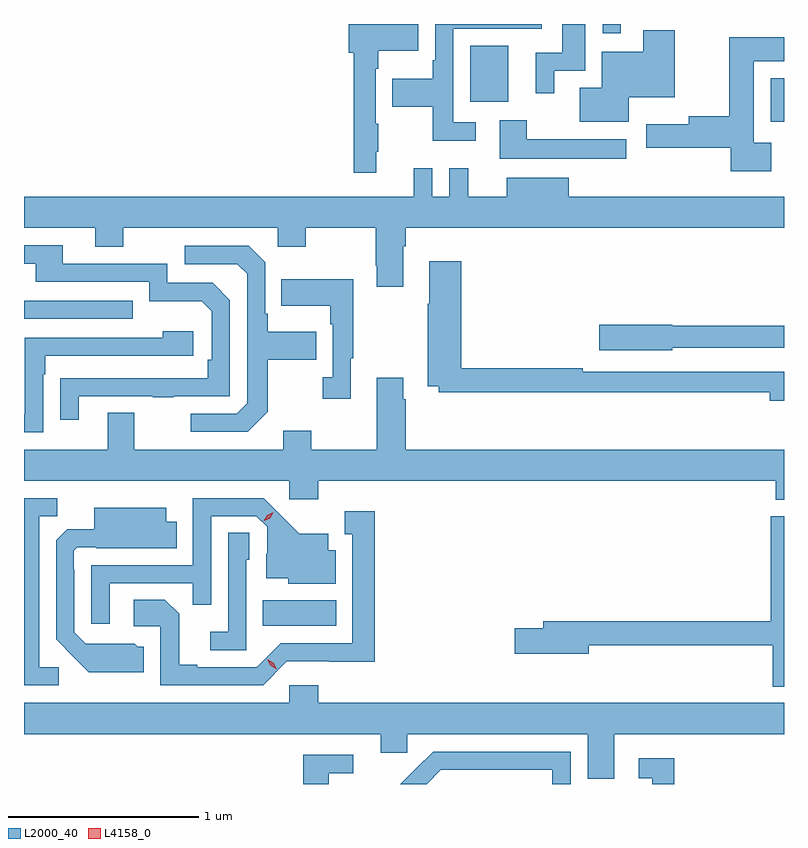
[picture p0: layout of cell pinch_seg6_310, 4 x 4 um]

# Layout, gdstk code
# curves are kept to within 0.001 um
import gdstk
lib = gdstk.Library(unit=1e-6, precision=1e-09)
def R(c, l, rs):  # rectangles x0, y0, x1, y1
    for r in rs: c.add(gdstk.rectangle(r[:2], r[2:], *l))
def P(c, l, *ps):  # polygons
    for p in ps: c.add(gdstk.Polygon(p, *l))
L2000_40 = (2000, 40)
L4158_0 = (4158, 0)

pinch_seg6_310 = lib.new_cell('pinch_seg6_310')
R(pinch_seg6_310, L2000_40, [(640.642,963.89,641.029,964.024), (639.386,965.505,639.959,965.601), (643.316,966.542,643.386,966.772), (641.735,966.647,641.935,966.943), (642.432,967.008,642.528,967.057)])
P(pinch_seg6_310, L2000_40, [(642.178,966.81),(642.34,966.81),(642.34,967.057),(642.218,967.057),(642.218,966.906),(642.08,966.906),(642.08,966.693),(642.178,966.693)],
  [(641.24,966.385),(641.251,966.385),(641.251,966.533),(641.238,966.533),(641.238,966.821),(641.251,966.821),(641.251,966.917),(641.461,966.917),(641.461,967.057),(641.096,967.057),(641.096,966.905),(641.122,966.905),(641.122,966.273),(641.24,966.273)],
  [(641.764,966.54),(641.646,966.54),(641.646,967.032),(642.112,967.032),(642.112,967.057),(641.55,967.057),(641.55,966.865),(641.538,966.865),(641.538,966.769),(641.323,966.769),(641.323,966.622),(641.538,966.622),(641.538,966.443),(641.764,966.443)],
  [(642.568,966.671),(642.81,966.671),(642.81,967.024),(642.644,967.024),(642.644,966.91),(642.428,966.91),(642.428,966.721),(642.311,966.721),(642.311,966.542),(642.568,966.542)],
  [(643.318,966.433),(643.228,966.433),(643.228,966.86),(643.386,966.86),(643.386,966.988),(643.099,966.988),(643.099,966.571),(642.884,966.571),(642.884,966.529),(642.66,966.529),(642.66,966.407),(643.106,966.407),(643.106,966.281),(643.318,966.281)],
  [(642.556,966.451),(642.031,966.451),(642.031,966.55),(641.891,966.55),(641.891,966.347),(642.556,966.347)],
  [(641.383,965.888),(641.396,965.888),(641.396,965.984),(643.386,965.984),(643.386,966.148),(642.253,966.148),(642.253,966.247),(641.927,966.247),(641.927,966.148),(641.723,966.148),(641.723,966.298),(641.625,966.298),(641.625,966.148),(641.535,966.148),(641.535,966.298),(641.438,966.298),(641.438,966.148),(639.386,966.148),(639.386,965.984),(639.761,965.984),(639.761,965.885),(639.909,965.885),(639.909,965.984),(640.722,965.984),(640.722,965.885),(640.869,965.885),(640.869,965.984),(641.236,965.984),(641.236,965.785),(641.243,965.785),(641.243,965.673),(641.383,965.673)],
  [(639.673,965.097),(640.063,965.097),(640.063,965.092),(640.175,965.092),(640.175,965.097),(640.47,965.097),(640.47,965.604),(640.38,965.694),(640.14,965.694),(640.14,965.796),(639.589,965.796),(639.589,965.892),(639.386,965.892),(639.386,965.796),(639.449,965.796),(639.449,965.7),(640.044,965.7),(640.044,965.597),(640.321,965.597),(640.374,965.544),(640.374,965.29),(640.354,965.29),(640.354,965.193),(639.577,965.192),(639.577,964.974),(639.673,964.974)],
  [(640.669,965.017),(640.669,965.29),(640.925,965.29),(640.925,965.437),(640.669,965.437),(640.669,965.533),(640.656,965.533),(640.656,965.802),(640.569,965.889),(640.233,965.889),(640.233,965.793),(640.509,965.793),(640.56,965.742),(640.56,965.061),(640.506,965.007),(640.263,965.007),(640.263,964.911),(640.563,964.911)],
  [(643.386,965.226),(642.326,965.226),(642.326,965.246),(641.687,965.246),(641.687,965.809),(641.519,965.809),(641.519,965.585),(641.512,965.585),(641.512,965.15),(641.568,965.15),(641.568,965.118),(643.31,965.118),(643.31,965.075),(643.386,965.075)],
  [(641.107,965.297),(641.119,965.297),(641.119,965.713),(640.741,965.713),(640.741,965.573),(640.998,965.573),(640.998,965.477),(641.01,965.477),(641.01,965.198),(640.959,965.198),(640.959,965.085),(641.107,965.085)],
  [(642.798,965.352),(643.386,965.352),(643.386,965.468),(642.798,965.468),(642.798,965.474),(642.414,965.474),(642.414,965.339),(642.798,965.339)],
  [(639.486,965.213),(639.499,965.213),(639.499,965.31),(640.276,965.31),(640.276,965.44),(640.115,965.44),(640.115,965.406),(639.39,965.406),(639.39,965.004),(639.386,965.004),(639.386,964.908),(639.486,964.908)],
  [(643.386,964.816),(641.396,964.816),(641.396,965.081),(641.383,965.081),(641.383,965.194),(641.243,965.194),(641.243,964.816),(640.899,964.816),(640.899,964.915),(640.751,964.915),(640.751,964.816),(639.967,964.816),(639.967,965.011),(639.827,965.011),(639.827,964.816),(639.386,964.816),(639.386,964.652),(640.782,964.652),(640.782,964.557),(640.934,964.557),(640.934,964.652),(643.343,964.652),(643.343,964.553),(643.386,964.553)],
  [(639.568,963.672),(639.465,963.672),(639.465,964.465),(639.561,964.465),(639.561,964.56),(639.386,964.56),(639.386,963.576),(639.568,963.576)],
  [(639.837,964.113),(640.273,964.113),(640.273,964),(640.371,964),(640.371,964.467),(640.608,964.467),(640.665,964.41),(640.665,964.268),(640.661,964.268),(640.661,964.139),(640.776,964.139),(640.776,964.112),(641.026,964.112),(641.026,964.288),(640.987,964.288),(640.987,964.375),(640.835,964.375),(640.648,964.56),(640.275,964.56),(640.275,964.209),(639.741,964.209),(639.741,963.9),(639.837,963.9)],
  [(640.015,963.78),(639.984,963.78),(639.968,963.796),(639.711,963.795),(639.651,963.855),(639.651,964.184),(639.648,964.184),(639.648,964.284),(639.666,964.302),(639.766,964.302),(639.766,964.298),(640.19,964.298),(640.19,964.438),(640.135,964.438),(640.135,964.51),(639.755,964.51),(639.755,964.399),(639.614,964.399),(639.555,964.34),(639.555,963.818),(639.727,963.644),(640.015,963.644)],
  [(640.77,963.702),(641.233,963.701),(641.233,964.492),(641.075,964.492),(641.075,964.371),(641.114,964.371),(641.114,963.798),(640.737,963.798),(640.611,963.672),(640.297,963.672),(640.297,963.685),(640.203,963.685),(640.203,963.952),(640.127,964.028),(639.963,964.028),(639.963,963.888),(640.104,963.888),(640.104,963.576),(640.644,963.576)],
  [(643.386,964.466),(643.316,964.466),(643.316,963.914),(642.119,963.914),(642.119,963.878),(641.97,963.878),(641.97,963.743),(642.358,963.743),(642.358,963.786),(643.328,963.786),(643.328,963.57),(643.386,963.57)],
  [(640.557,964.236),(640.572,964.236),(640.572,964.379),(640.461,964.379),(640.461,963.859),(640.365,963.859),(640.365,963.762),(640.557,963.762)],
  [(642.493,963.32),(643.386,963.32),(643.386,963.484),(640.934,963.484),(640.934,963.577),(640.782,963.577),(640.782,963.484),(639.386,963.484),(639.386,963.32),(641.264,963.32),(641.264,963.222),(641.403,963.222),(641.403,963.32),(642.353,963.32),(642.353,963.085),(642.493,963.085)],
  [(641.58,963.132),(642.167,963.132),(642.167,963.057),(642.264,963.057),(642.264,963.228),(641.54,963.228),(641.449,963.137),(641.448,963.138),(641.367,963.057),(641.505,963.057)],
  [(640.99,963.114),(641.119,963.114),(641.119,963.21),(640.856,963.21),(640.856,963.057),(640.99,963.057)],
  [(642.809,963.193),(642.621,963.193),(642.621,963.087),(642.693,963.087),(642.693,963.057),(642.809,963.057)])
P(pinch_seg6_310, L4158_0, [(640.715,963.662),(640.683,963.681),(640.666,963.713),(640.666,963.713),(640.666,963.713),(640.698,963.694),(640.715,963.662),(640.715,963.662)],
  [(640.649,964.442),(640.649,964.442),(640.667,964.472),(640.698,964.486),(640.698,964.486),(640.698,964.486),(640.681,964.457),(640.65,964.442)])

lib.write_gds('pinch_seg6_310.gds')
